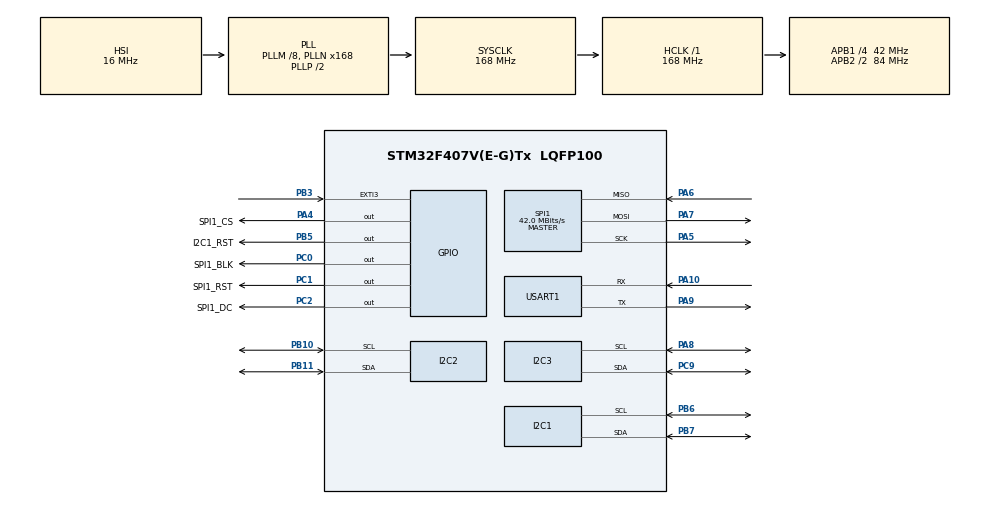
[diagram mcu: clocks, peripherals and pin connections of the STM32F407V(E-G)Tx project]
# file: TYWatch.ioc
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Dma.Request0=SPI1_TX
Dma.SPI1_TX.0.Direction=DMA_MEMORY_TO_PERIPH
Dma.SPI1_TX.0.FIFOMode=DMA_FIFOMODE_DISABLE
Dma.SPI1_TX.0.Instance=DMA2_Stream3
Dma.SPI1_TX.0.MemDataAlignment=DMA_MDATAALIGN_BYTE
Dma.SPI1_TX.0.MemInc=DMA_MINC_ENABLE
Dma.SPI1_TX.0.Mode=DMA_NORMAL
Dma.SPI1_TX.0.PeriphDataAlignment=DMA_PDATAALIGN_BYTE
Dma.SPI1_TX.0.PeriphInc=DMA_PINC_DISABLE
Dma.SPI1_TX.0.Priority=DMA_PRIORITY_LOW
FREERTOS.Queues01=heartrt,1,uint8_t,0,Dynamic,NULL,NULL
FREERTOS.Tasks01=defaultTask,24,128,StartDefaultTask,Default,NULL,Dynamic,NULL,NULL;heartrate,40,128,hearttask,Default,NULL,Dynamic,NULL,NULL
FREERTOS.configUSE_TICK_HOOK=1
I2C1.I2C_Mode=I2C_Fast
I2C2.I2C_Mode=I2C_Fast
I2C3.I2C_Mode=I2C_Fast
Mcu.Family=STM32F4
Mcu.Name=STM32F407V(E-G)Tx
Mcu.Package=LQFP100
NVIC.DMA2_Stream3_IRQn=true\:5\:0\:true\:false\:true\:true\:false\:true\:true
NVIC.EXTI3_IRQn=true\:5\:0\:false\:false\:true\:true\:true\:true\:true
NVIC.PriorityGroup=NVIC_PRIORITYGROUP_4
NVIC.SPI1_IRQn=true\:6\:0\:true\:false\:true\:true\:true\:true\:true
NVIC.TIM5_IRQn=true\:5\:0\:false\:false\:true\:true\:true\:true\:true
NVIC.TIM6_DAC_IRQn=true\:5\:0\:false\:false\:true\:true\:true\:true\:true
NVIC.TIM7_IRQn=true\:15\:0\:false\:false\:true\:false\:false\:true\:true
NVIC.TimeBase=TIM7_IRQn
NVIC.TimeBaseIP=TIM7
PA10.Mode=Asynchronous
PA10.Signal=USART1_RX
PA13.Mode=Serial_Wire
PA13.Signal=SYS_JTMS-SWDIO
PA14.Mode=Serial_Wire
PA14.Signal=SYS_JTCK-SWCLK
PA4.GPIO_Label=SPI1_CS
PA4.Signal=GPIO_Output
PA5.Mode=Full_Duplex_Master
PA5.Signal=SPI1_SCK
PA6.Mode=Full_Duplex_Master
PA6.Signal=SPI1_MISO
PA7.Mode=Full_Duplex_Master
PA7.Signal=SPI1_MOSI
PA8.Mode=I2C
PA8.Signal=I2C3_SCL
PA9.Mode=Asynchronous
PA9.Signal=USART1_TX
PB10.Mode=I2C
PB10.Signal=I2C2_SCL
PB11.Mode=I2C
PB11.Signal=I2C2_SDA
PB3.GPIO_ModeDefaultEXTI=GPIO_MODE_IT_FALLING
PB3.Signal=GPXTI3
PB5.GPIO_Label=I2C1_RST
PB5.Signal=GPIO_Output
PB6.Mode=I2C
PB6.Signal=I2C1_SCL
PB7.Mode=I2C
PB7.Signal=I2C1_SDA
PC0.GPIO_Label=SPI1_BLK
PC0.Signal=GPIO_Output
PC1.GPIO_Label=SPI1_RST
PC1.Signal=GPIO_Output
PC14-OSC32_IN.Mode=LSE-External-Oscillator
PC14-OSC32_IN.Signal=RCC_OSC32_IN
PC15-OSC32_OUT.Mode=LSE-External-Oscillator
PC15-OSC32_OUT.Signal=RCC_OSC32_OUT
PC2.GPIO_Label=SPI1_DC
PC2.Signal=GPIO_Output
PC9.Mode=I2C
PC9.Signal=I2C3_SDA
PH0-OSC_IN.Mode=HSE-External-Oscillator
PH0-OSC_IN.Signal=RCC_OSC_IN
PH1-OSC_OUT.Mode=HSE-External-Oscillator
PH1-OSC_OUT.Signal=RCC_OSC_OUT
ProjectManager.HeapSize=0xB00
ProjectManager.StackSize=0xB00
ProjectManager.TargetToolchain=MDK-ARM V5.32
RCC.48MHZClocksFreq_Value=84000000
RCC.AHBFreq_Value=168000000
RCC.APB1CLKDivider=RCC_HCLK_DIV4
RCC.APB1Freq_Value=42000000
RCC.APB1TimFreq_Value=84000000
RCC.APB2CLKDivider=RCC_HCLK_DIV2
RCC.APB2Freq_Value=84000000
RCC.APB2TimFreq_Value=168000000
RCC.CortexFreq_Value=168000000
RCC.HCLKFreq_Value=168000000
RCC.HSE_VALUE=25000000
RCC.HSI_VALUE=16000000
RCC.PLLM=8
RCC.PLLN=168
RCC.SYSCLKFreq_VALUE=168000000
RCC.SYSCLKSource=RCC_SYSCLKSOURCE_PLLCLK
RCC.VCOOutputFreq_Value=336000000
SPI1.CalculateBaudRate=42.0 MBits/s
SPI1.Direction=SPI_DIRECTION_2LINES
SPI1.Mode=SPI_MODE_MASTER
SPI1.VirtualType=VM_MASTER
TIM5.AutoReloadPreload=TIM_AUTORELOAD_PRELOAD_ENABLE
TIM5.Period=1000000-1
TIM5.Prescaler=83
TIM6.AutoReloadPreload=TIM_AUTORELOAD_PRELOAD_ENABLE
TIM6.Period=999
TIM6.Prescaler=83
USART1.VirtualMode=VM_ASYNC
VP_FREERTOS_VS_CMSIS_V2.Mode=CMSIS_V2
VP_SYS_VS_tim7.Mode=TIM7
VP_TIM5_VS_ClockSourceINT.Mode=Internal
VP_TIM6_VS_ClockSourceINT.Mode=Enable_Timer
board=custom

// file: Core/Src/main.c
/* USER CODE BEGIN Header */
/**
 ******************************************************************************
 * @file           : main.c
 * @brief          : Main program body
 ******************************************************************************
 * @attention
 *
 * Copyright (c) 2025 STMicroelectronics.
 * All rights reserved.
 *
 * This software is licensed under terms that can be found in the LICENSE file
 * in the root directory of this software component.
 * If no LICENSE file comes with this software, it is provided AS-IS.
 *
 ******************************************************************************
 */
/* USER CODE END Header */
#include "main.h"
#include "cmsis_os.h"
#include "dma.h"
#include "i2c.h"
#include "spi.h"
#include "tim.h"
#include "usart.h"
#include "gpio.h"

/* USER CODE BEGIN Includes */
#include "lv_port_disp_template.h"
#include "lv_port_indev_template.h"
#include "../generated/gui_guider.h"
#include "../generated/events_init.h"
#include "LSM6DS3.h"
#include "ST7789.h"
/* USER CODE END Includes */

/* USER CODE BEGIN PTD */
lv_ui guider_ui;
/* USER CODE END PTD */

void SystemClock_Config(void);
void MX_FREERTOS_Init(void);

/* USER CODE BEGIN 0 */
int fputc(int ch, FILE *f)
{
  // HAL_UART_Transmit(串口句柄, 字符地址, 长度, 超时时间)
  HAL_UART_Transmit(&huart1, (uint8_t *)&ch, 1, HAL_MAX_DELAY); // 0xFFFF表示超时等待（防止阻塞可设短时间）
  return ch;                                                    // 按fputc标准要求返回字符
}
/* USER CODE END 0 */

int main(void)
{

  /* MCU Configuration--------------------------------------------------------*/

  /* Reset of all peripherals, Initializes the Flash interface and the Systick. */
  HAL_Init();

  /* Configure the system clock */
  SystemClock_Config();

  /* Initialize all configured peripherals */
  MX_GPIO_Init();
  MX_DMA_Init();
  MX_I2C1_Init();
  MX_SPI1_Init();
  MX_TIM6_Init();
  MX_USART1_UART_Init();
  MX_TIM5_Init();
  MX_I2C3_Init();
  MX_I2C2_Init();
  /* USER CODE BEGIN 2 */
  lv_init();
  lv_port_disp_init();
  lv_port_indev_init();
  lsm_Init();
  max_ID();
  max_Init();
  HAL_TIM_Base_Start_IT(&htim5);
  HAL_TIM_Base_Start_IT(&htim6);
  //lcd_sleep_in();
  setup_ui(&guider_ui);
  events_init(&guider_ui);

  /* USER CODE END 2 */

  /* Init scheduler */
  osKernelInitialize();

  /* Call init function for freertos objects (in cmsis_os2.c) */
  MX_FREERTOS_Init();

  /* Start scheduler */
  osKernelStart();

  /* We should never get here as control is now taken by the scheduler */

  /* Infinite loop */
  /* USER CODE BEGIN WHILE */
  while (1)
  {
    lv_timer_handler();
    HAL_Delay(5);
    /* USER CODE END WHILE */

  }
}

void SystemClock_Config(void)
{
  RCC_OscInitTypeDef RCC_OscInitStruct = {0};
  RCC_ClkInitTypeDef RCC_ClkInitStruct = {0};

  /** Configure the main internal regulator output voltage
  */
  __HAL_RCC_PWR_CLK_ENABLE();
  __HAL_PWR_VOLTAGESCALING_CONFIG(PWR_REGULATOR_VOLTAGE_SCALE1);

  /** Initializes the RCC Oscillators according to the specified parameters
  * in the RCC_OscInitTypeDef structure.
  */
  RCC_OscInitStruct.OscillatorType = RCC_OSCILLATORTYPE_HSI;
  RCC_OscInitStruct.HSIState = RCC_HSI_ON;
  RCC_OscInitStruct.HSICalibrationValue = RCC_HSICALIBRATION_DEFAULT;
  RCC_OscInitStruct.PLL.PLLState = RCC_PLL_ON;
  RCC_OscInitStruct.PLL.PLLSource = RCC_PLLSOURCE_HSI;
  RCC_OscInitStruct.PLL.PLLM = 8;
  RCC_OscInitStruct.PLL.PLLN = 168;
  RCC_OscInitStruct.PLL.PLLP = RCC_PLLP_DIV2;
  RCC_OscInitStruct.PLL.PLLQ = 4;
  if (HAL_RCC_OscConfig(&RCC_OscInitStruct) != HAL_OK)
  {
    Error_Handler();
  }

  /** Initializes the CPU, AHB and APB buses clocks
  */
  RCC_ClkInitStruct.ClockType = RCC_CLOCKTYPE_HCLK|RCC_CLOCKTYPE_SYSCLK
                              |RCC_CLOCKTYPE_PCLK1|RCC_CLOCKTYPE_PCLK2;
  RCC_ClkInitStruct.SYSCLKSource = RCC_SYSCLKSOURCE_PLLCLK;
  RCC_ClkInitStruct.AHBCLKDivider = RCC_SYSCLK_DIV1;
  RCC_ClkInitStruct.APB1CLKDivider = RCC_HCLK_DIV4;
  RCC_ClkInitStruct.APB2CLKDivider = RCC_HCLK_DIV2;

  if (HAL_RCC_ClockConfig(&RCC_ClkInitStruct, FLASH_LATENCY_5) != HAL_OK)
  {
    Error_Handler();
  }
}

/* USER CODE BEGIN 4 */
void HAL_GPIO_EXTI_Callback(uint16_t GPIO_Pin)
{
  if (GPIO_Pin == GPIO_PIN_3)
  {
    //lcd_sleep_out(); //
  }
}
/* USER CODE END 4 */

void HAL_TIM_PeriodElapsedCallback(TIM_HandleTypeDef *htim)
{
  /* USER CODE BEGIN Callback 0 */
  if (htim->Instance == TIM6)
  {
    //lv_tick_inc(1);
  }
  /* USER CODE END Callback 0 */
  if (htim->Instance == TIM7)
  {
    HAL_IncTick();
  }
}

void Error_Handler(void)
{
  __disable_irq();
  while (1)
  {
  }
}

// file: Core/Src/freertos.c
/* USER CODE BEGIN Header */
/**
 ******************************************************************************
 * File Name          : freertos.c
 * Description        : Code for freertos applications
 ******************************************************************************
 * @attention
 *
 * Copyright (c) 2025 STMicroelectronics.
 * All rights reserved.
 *
 * This software is licensed under terms that can be found in the LICENSE file
 * in the root directory of this software component.
 * If no LICENSE file comes with this software, it is provided AS-IS.
 *
 ******************************************************************************
 */
/* USER CODE END Header */

#include "FreeRTOS.h"
#include "task.h"
#include "main.h"
#include "cmsis_os.h"

/* USER CODE BEGIN Includes */
#include "ST7789.h"
#include "algorithm.h"
#include "MAX30102.h"
#include "../generated/gui_guider.h"
#include "../generated/events_init.h"
#include "queue.h"

/* USER CODE END Includes */

/* USER CODE BEGIN Variables */
extern bool screen_on;

/* USER CODE END Variables */
/* Definitions for defaultTask */
osThreadId_t defaultTaskHandle;
const osThreadAttr_t defaultTask_attributes = {
    .name = "defaultTask",
    .stack_size = 512 * 4,
    .priority = (osPriority_t)osPriorityNormal,
};
/* Definitions for heartrate */
osThreadId_t heartrateHandle;
const osThreadAttr_t heartrate_attributes = {
    .name = "heartrate",
    .stack_size = 256 * 4,
    .priority = (osPriority_t)osPriorityHigh,
};
/* Definitions for heartrt */
osMessageQueueId_t heartrtHandle;
const osMessageQueueAttr_t heartrt_attributes = {
    .name = "heartrt"};

void StartDefaultTask(void *argument);
void hearttask(void *argument);

void MX_FREERTOS_Init(void); /* (MISRA C 2004 rule 8.1) */

/* Hook prototypes */
void vApplicationTickHook(void);

/* USER CODE BEGIN 3 */
void vApplicationTickHook(void)
{
  /* This function will be called by each tick interrupt if
  configUSE_TICK_HOOK is set to 1 in FreeRTOSConfig.h. User code can be
  added here, but the tick hook is called from an interrupt context, so
  code must not attempt to block, and only the interrupt safe FreeRTOS API
  functions can be used (those that end in FromISR()). */
  lv_tick_inc(1);
}
/* USER CODE END 3 */

void MX_FREERTOS_Init(void)
{

  /* Create the queue(s) */
  /* creation of heartrt */
  heartrtHandle = osMessageQueueNew(1, sizeof(uint8_t), &heartrt_attributes);

  /* Create the thread(s) */
  /* creation of defaultTask */
  defaultTaskHandle = osThreadNew(StartDefaultTask, NULL, &defaultTask_attributes);

  /* creation of heartrate */
  heartrateHandle = osThreadNew(hearttask, NULL, &heartrate_attributes);

}

void StartDefaultTask(void *argument)
{
  /* USER CODE BEGIN StartDefaultTask */
  /* Infinite loop */
  for (;;)
  {

    lv_timer_handler();
    osDelay(5);
  }
  /* USER CODE END StartDefaultTask */
}

void hearttask(void *argument)
{
  /* USER CODE BEGIN hearttask */
  FilterState filter;
  Filter_Init(&filter);

  TickType_t xLastWakeTime;
  // 初始化上一次唤醒时间
  xLastWakeTime = xTaskGetTickCount();
  uint8_t i = 0;
  float buf[BUF_SIZE];
  float heartrate = 0;
  uint8_t hearttt;
  // 10ms 周期（10个节拍，当 configTICK_RATE_HZ = 1000 时）
  const TickType_t x10msPeriod = 10;
  /* Infinite loop */
  for (;;)
  {
    float ir = (float)max_ir(); // 你的采样函数
    float out = Filter_Process(&filter, ir);
    // printf("%f\n", out);
    buf[i] = out;
    i++;
    uint8_t peak1 = 0, peak2 = 0;
    vTaskDelayUntil(&xLastWakeTime, x10msPeriod);
    if (i == BUF_SIZE)
    {
      for (uint8_t j = 2; j < BUF_SIZE - 2; j++)
      {
        if (buf[j] < buf[j - 1] && buf[j] < buf[j - 2] &&
            buf[j] < buf[j + 1] && buf[j] < buf[j + 2])
        {
          if (peak1 == 0)
          {
            peak1 = j;
            // printf("波谷在位置 %d，值为 %f\n", peak1, buf[j]); /* code */
          }
          else
          {
            peak2 = j;
            if (abs(peak1 - peak2) <= 75)
            {
              peak2 = 0;
            }
            else
            {
              peak2 = j;
              heartrate = 60 / (((float)peak2 - (float)peak1) / 100);
              hearttt = (uint8_t)heartrate;
              // printf("%d\n", heartrate);
              // printf("波谷在位置 %d，值为 %f\n", peak2, buf[j]); /* code */
               printf("%d\n", (uint8_t)heartrate);
              // lv_label_set_text_fmt(ui->Heart_label_1, "%d", (uint8_t)heartrate);
              xQueueOverwrite(
                  heartrtHandle,
                  &hearttt);
              break;
            }
          }
        }
      }
      i = 0;
    }
  }
  /* USER CODE END hearttask */
}
